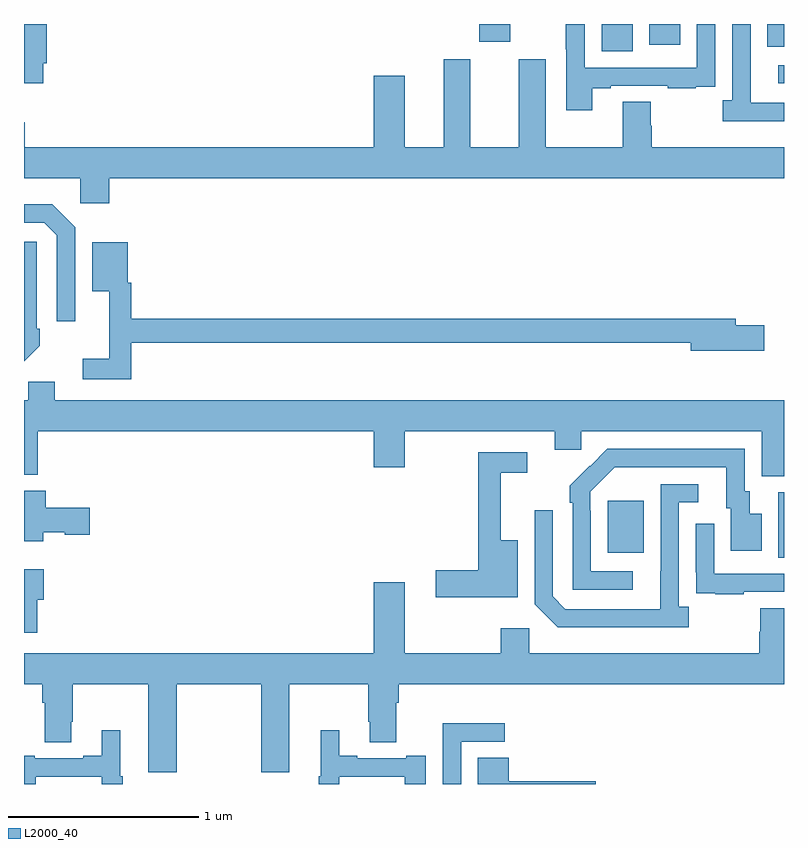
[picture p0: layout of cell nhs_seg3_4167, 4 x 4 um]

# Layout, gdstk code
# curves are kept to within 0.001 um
import gdstk
lib = gdstk.Library(unit=1e-6, precision=1e-09)
def R(c, l, rs):  # rectangles x0, y0, x1, y1
    for r in rs: c.add(gdstk.rectangle(r[:2], r[2:], *l))
def P(c, l, *ps):  # polygons
    for p in ps: c.add(gdstk.Polygon(p, *l))
L2000_40 = (2000, 40)

nhs_seg3_4167 = lib.new_cell('nhs_seg3_4167')
R(nhs_seg3_4167, L2000_40, [(334.97,693.592,335,693.936), (334.073,693.617,334.261,693.892), (334.971,696.087,335,696.183), (334.04,696.256,334.204,696.4), (334.913,696.281,335,696.4), (334.292,696.291,334.453,696.4), (333.395,696.306,333.559,696.4)])
P(nhs_seg3_4167, L2000_40, [(333.991,696.063),(334.087,696.063),(334.087,696.075),(334.387,696.075),(334.387,696.063),(334.535,696.063),(334.535,696.069),(334.637,696.069),(334.637,696.178),(334.638,696.178),(334.638,696.4),(334.542,696.4),(334.542,696.171),(333.951,696.171),(333.951,696.4),(333.85,696.4),(333.85,696.268),(333.855,696.268),(333.855,695.946),(333.991,695.946)],
  [(331.102,696.193),(331.121,696.193),(331.121,696.4),(331,696.4),(331,696.089),(331.102,696.089)],
  [(335,695.985),(334.825,695.985),(334.825,696.185),(334.824,696.185),(334.824,696.4),(334.728,696.4),(334.728,695.998),(334.677,695.998),(334.677,695.888),(335,695.888)],
  [(331.448,695.588),(335,695.588),(335,695.752),(334.304,695.752),(334.304,695.865),(334.299,695.865),(334.299,695.99),(334.151,695.99),(334.151,695.752),(333.745,695.752),(333.745,696.214),(333.605,696.214),(333.605,695.752),(333.349,695.752),(333.349,696.214),(333.209,696.214),(333.209,695.752),(333.004,695.752),(333.004,696.127),(332.84,696.127),(332.84,695.752),(331.004,695.752),(331.004,695.884),(331,695.884),(331,695.588),(331.296,695.588),(331.296,695.457),(331.448,695.457)],
  [(331.269,695.331),(331.148,695.452),(331,695.452),(331,695.355),(331.107,695.355),(331.173,695.289),(331.173,694.836),(331.269,694.836)],
  [(331.083,694.707),(331.083,694.795),(331.068,694.795),(331.068,695.253),(331,695.253),(331,694.624)],
  [(331.565,694.722),(334.508,694.722),(334.508,694.679),(334.897,694.679),(334.897,694.814),(334.747,694.814),(334.747,694.85),(331.565,694.85),(331.565,695.037),(331.546,695.037),(331.546,695.251),(331.358,695.251),(331.358,694.994),(331.448,694.994),(331.448,694.639),(331.308,694.639),(331.308,694.53),(331.565,694.53)],
  [(335,694.42),(331.162,694.42),(331.162,694.518),(331.023,694.518),(331.023,694.42),(331,694.42),(331,694.028),(331.073,694.028),(331.073,694.256),(332.84,694.256),(332.84,694.068),(333.004,694.068),(333.004,694.256),(333.794,694.256),(333.794,694.158),(333.933,694.158),(333.933,694.256),(334.883,694.256),(334.883,694.021),(335,694.021)],
  [(334.204,693.519),(333.984,693.519),(333.984,693.839),(333.981,693.839),(333.981,693.939),(334.11,694.068),(334.697,694.068),(334.697,693.852),(334.721,693.852),(334.721,693.627),(334.882,693.627),(334.882,693.823),(334.819,693.823),(334.819,693.942),(334.794,693.942),(334.794,694.164),(334.07,694.164),(333.873,693.969),(333.873,693.881),(333.888,693.881),(333.888,693.423),(334.204,693.423)],
  [(333.598,693.682),(333.509,693.682),(333.509,694.038),(333.649,694.038),(333.649,694.146),(333.391,694.146),(333.391,693.524),(333.168,693.524),(333.168,693.382),(333.598,693.382)],
  [(334.498,693.334),(334.446,693.334),(334.446,693.882),(334.549,693.882),(334.549,693.978),(334.35,693.978),(334.349,693.321),(333.849,693.321),(333.783,693.387),(333.783,693.841),(333.687,693.841),(333.687,693.345),(333.808,693.224),(334.498,693.224)],
  [(331.102,693.725),(331.215,693.725),(331.215,693.713),(331.345,693.713),(331.345,693.855),(331.115,693.855),(331.115,693.943),(331,693.943),(331,693.677),(331.102,693.677)],
  [(334.787,693.411),(335,693.411),(335,693.507),(334.632,693.507),(334.632,693.769),(334.536,693.769),(334.536,693.514),(334.537,693.514),(334.537,693.405),(334.639,693.405),(334.639,693.399),(334.787,693.399)],
  [(331.07,693.371),(331.105,693.371),(331.105,693.529),(331,693.529),(331,693.195),(331.07,693.195)],
  [(331.803,692.924),(332.248,692.924),(332.248,692.463),(332.395,692.463),(332.395,692.924),(332.812,692.924),(332.812,692.728),(332.819,692.728),(332.819,692.62),(332.959,692.62),(332.959,692.828),(332.972,692.828),(332.972,692.924),(335,692.924),(335,693.326),(334.876,693.326),(334.876,693.201),(334.871,693.201),(334.871,693.088),(333.66,693.088),(333.66,693.22),(333.509,693.22),(333.509,693.088),(333.004,693.088),(333.004,693.463),(332.84,693.463),(332.84,693.088),(331,693.088),(331,692.924),(331.097,692.924),(331.097,692.828),(331.109,692.828),(331.109,692.62),(331.249,692.62),(331.249,692.728),(331.257,692.728),(331.257,692.924),(331.655,692.924),(331.655,692.463),(331.803,692.463)],
  [(333.3,692.622),(333.529,692.622),(333.529,692.72),(333.204,692.72),(333.204,692.4),(333.3,692.4)],
  [(332.658,692.439),(333.005,692.439),(333.005,692.4),(333.115,692.4),(333.115,692.548),(333.011,692.548),(333.011,692.535),(332.755,692.535),(332.755,692.548),(332.659,692.548),(332.659,692.683),(332.561,692.683),(332.561,692.442),(332.55,692.442),(332.55,692.4),(332.658,692.4)],
  [(331.063,692.439),(331.41,692.439),(331.41,692.4),(331.519,692.4),(331.519,692.442),(331.507,692.442),(331.507,692.683),(331.409,692.683),(331.409,692.548),(331.313,692.548),(331.313,692.535),(331.057,692.535),(331.057,692.548),(331,692.548),(331,692.4),(331.063,692.4)],
  [(334.009,692.414),(333.551,692.414),(333.551,692.537),(333.389,692.537),(333.389,692.4),(334.009,692.4)])

lib.write_gds('nhs_seg3_4167.gds')
